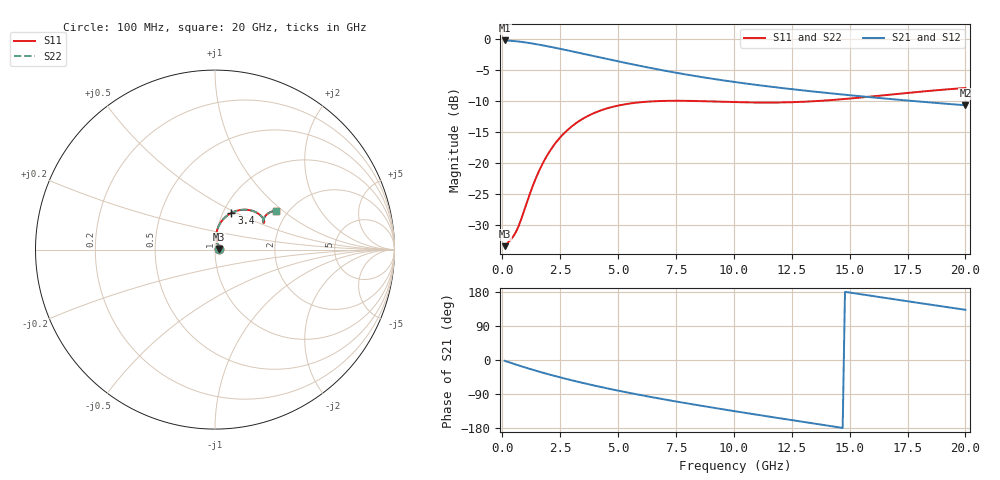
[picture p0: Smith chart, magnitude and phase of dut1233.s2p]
! Touchstone file exported from HFSS 2024.1.0
!  File:  C:/UserFiles/LocalFiles/RDL_TSV_Batchsim/temp_RDL_TSV_1233_1780265082.aedt
!  Generated:  06:23:03 AM Jun  1, 2026
!  Design:  RDL_TSV
!  Project:  temp_RDL_TSV_1233_1780265082
!  Setup:  Setup1
!  Solution:  Sweep
! Variables:
!  dtsv = 14.11um
!  hbump = 3um
!  htsv = 58.95um
!  ldown = 679.68um
!  lrdl = 323.67um
!  p = 40
!  p1 = 56.17um
!  rhole = 10um
!  subl = 3333.72um
!  t = 450um
!  tdown = 3.47um
!  trdl = 3.57um
!  viad = 10um
!  wdown = 24.6um
!  wrdl = 10.03um
!  xbump = 18um
# GHz S MA R 50.000000
! Terminal data exported
! Port[1] = TM1_1_T1
! Port[2] = TM1_4_T1
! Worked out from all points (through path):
!   200 points, 100 MHz to 20 GHz, reference 50 ohm
!   highest |S21| = -0.19 dB at 100 MHz (marker M1); lowest = -10.6 dB at 20 GHz (marker M2)
!   group delay of S21, straight-line fit = 29.6 ps
!   lowest |S11| = -33.4 dB at 100 MHz (marker M3), VSWR 1.04, Z = 52.1 + j0.406 ohm
!   |S11| at or under -10 dB: start of sweep to 6.575 GHz; 8.774 GHz to 13.44 GHz (4.663 GHz wide, 42 % of centre)
!   |S22| runs from -33.4 to -7.9 dB; largest |S21 - S12| = 1.1e-13
!   S11 on the Smith chart (normalised r, x): 100 MHz: 1.04, +0.01; 3.4 GHz: 1.10, +0.47; 20 GHz: 1.74, +0.90
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0.1  0.02142 10.5  0.9784 -2.1  0.9784 -2.1  0.02142 10.5
! Gamma 0 0 0 0
! Port Impedance 50 0 50 0
0.4  0.02464 35.8  0.9713 -8.3  0.9713 -8.3  0.02464 35.8
0.6  0.02815 52.1  0.9638 -12.3  0.9638 -12.3  0.02815 52.1
0.8  0.03465 66.5  0.9544 -16.2  0.9544 -16.2  0.03466 66.5
1.4  0.07181 84.4  0.9179 -27.4  0.9179 -27.4  0.07182 84.4
1.7  0.0958 84.6  0.8969 -32.7  0.8969 -32.7  0.09583 84.6
2  0.1208 82.6  0.8749 -37.7  0.8749 -37.7  0.1208 82.6
2.6  0.1692 75.9  0.8301 -47.4  0.8301 -47.4  0.1693 75.9
3.4  0.224 65.8  0.7712 -59.4  0.7712 -59.4  0.2241 65.9
3.5  0.2298 64.6  0.764 -60.9  0.764 -60.9  0.2299 64.6
4.2  0.2645 56.7  0.7153 -70.5  0.7153 -70.5  0.2646 56.7
5.1  0.2943 48.1  0.6579 -82.1  0.6579 -82.1  0.2944 48.1
5.9  0.3095 42.0  0.6125 -91.7  0.6125 -91.7  0.3097 42.0
6.8  0.3175 36.6  0.5677 -101.9  0.5677 -101.9  0.3177 36.6
8.4  0.3175 30.7  0.5028 -118.8  0.5028 -118.8  0.3178 30.7
10.1  0.311 28.6  0.4503 -135.7  0.4503 -135.7  0.3113 28.6
11.7  0.3087 29.4  0.412 -151.1  0.412 -151.1  0.309 29.3
13.4  0.3159 31.6  0.3793 -167.1  0.3793 -167.1  0.3162 31.5
15  0.3325 33.5  0.3537 178.0  0.3537 178.0  0.3327 33.4
16.7  0.3568 34.3  0.3304 162.3  0.3304 162.3  0.3568 34.2
18.4  0.3828 33.7  0.3101 146.8  0.3101 146.8  0.3827 33.7
20  0.4048 32.3  0.2935 132.5  0.2935 132.5  0.4046 32.2
